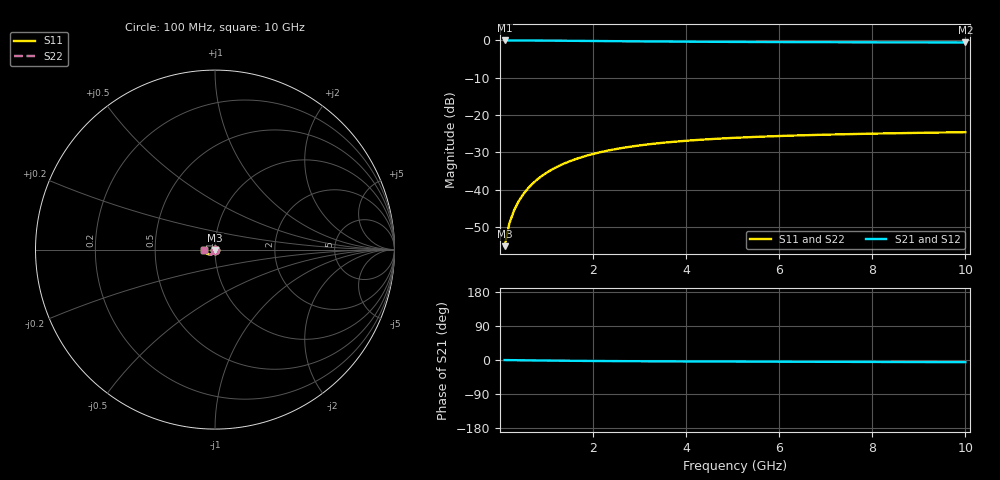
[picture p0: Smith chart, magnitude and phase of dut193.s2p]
! Touchstone file exported from HFSS 2024.1.0
!  File:  C:/UserFiles/LocalFiles/RDL_TSV_Batchsim/temp_TSV1_193_1779385192.aedt
!  Generated:  01:45:28 AM May 22, 2026
!  Design:  TSV1
!  Project:  temp_TSV1_193_1779385192
!  Setup:  Setup1
!  Solution:  Sweep
! Variables:
!  dtsv = 12.81um
!  hbump = 3um
!  htsv = 90.81um
!  lrdl = 252.1521522um
!  p = 40
!  p1 = 55.22um
!  t = 500um
!  trdl = 3um
!  wrdl = 24.89489489um
# GHz S MA R 50.000000
! Terminal data exported
! Port[1] = TSV22_T1
! Port[2] = TSV22_T2
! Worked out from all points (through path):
!   100 points, 100 MHz to 10 GHz, reference 50 ohm
!   highest |S21| = 0.00 dB at 100 MHz (marker M1); lowest = -0.5 dB at 10 GHz (marker M2)
!   lowest |S11| = -55.1 dB at 100 MHz (marker M3), VSWR 1.00, Z = 50 - j0.175 ohm
!   |S11| at or under -10 dB: start of sweep to end of sweep
!   |S22| runs from -55.1 to -24.6 dB; largest |S21 - S12| = 8e-15
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0.1  0.001751 -88.7  0.9998 -0.2  0.9998 -0.2  0.001751 -88.7
! Gamma 0 0 0 0
! Port Impedance 50 0 50 0
0.2  0.003497 -92.0  0.9997 -0.3  0.9997 -0.3  0.003497 -92.0
0.3  0.005241 -94.3  0.9993 -0.5  0.9993 -0.5  0.005241 -94.3
0.4  0.006975 -96.4  0.9989 -0.6  0.9989 -0.6  0.006975 -96.4
0.5  0.008693 -98.4  0.9984 -0.8  0.9984 -0.8  0.008693 -98.4
0.6  0.01039 -100.4  0.9978 -0.9  0.9978 -0.9  0.01039 -100.4
0.7  0.01206 -102.3  0.9971 -1.1  0.9971 -1.1  0.01206 -102.3
0.8  0.0137 -104.2  0.9963 -1.2  0.9963 -1.2  0.0137 -104.2
0.9  0.0153 -106.0  0.9955 -1.3  0.9955 -1.3  0.0153 -106.0
1.1  0.01839 -109.5  0.9936 -1.6  0.9936 -1.6  0.01839 -109.5
1.4  0.02271 -114.6  0.9904 -2.0  0.9904 -2.0  0.02271 -114.6
1.6  0.02536 -117.8  0.9881 -2.2  0.9881 -2.2  0.02536 -117.8
1.8  0.02783 -120.8  0.9857 -2.4  0.9857 -2.4  0.02783 -120.8
2.1  0.03121 -125.0  0.9821 -2.6  0.9821 -2.6  0.03121 -125.0
2.5  0.03513 -130.2  0.9775 -2.9  0.9775 -2.9  0.03513 -130.2
2.9  0.03845 -134.8  0.9731 -3.2  0.9731 -3.2  0.03845 -134.8
3.4  0.04191 -139.9  0.9682 -3.5  0.9682 -3.5  0.04191 -139.9
4.2  0.0462 -146.9  0.9615 -3.8  0.9615 -3.8  0.0462 -146.9
5.1  0.04974 -153.4  0.9557 -4.1  0.9557 -4.1  0.04974 -153.4
6.7  0.05401 -162.5  0.9483 -4.7  0.9483 -4.7  0.05401 -162.5
8.4  0.05696 -170.0  0.9433 -5.3  0.9433 -5.3  0.05696 -170.0
10  0.05896 -175.8  0.9401 -5.8  0.9401 -5.8  0.05896 -175.8
